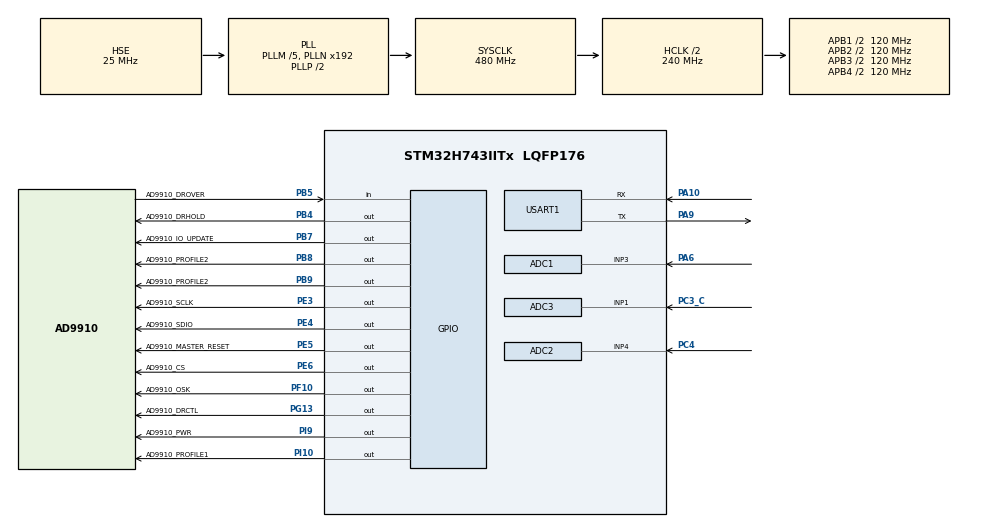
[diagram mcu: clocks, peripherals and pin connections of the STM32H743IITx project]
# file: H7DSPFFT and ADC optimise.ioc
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ADC1.Channel-1\#ChannelRegularConversion=ADC_CHANNEL_3
ADC1.ClockPrescaler=ADC_CLOCK_ASYNC_DIV2
ADC1.ClockPrescalerADC3=ADC_CLOCK_ASYNC_DIV2
ADC1.ConversionDataManagement=ADC_CONVERSIONDATA_DMA_ONESHOT
ADC1.DMAAccessModeView=ENABLE
ADC1.ExternalTrigConv=ADC_EXTERNALTRIG_T6_TRGO
ADC1.Mode=ADC_DUALMODE_REGSIMULT
ADC1.NbrOfConversion=1
ADC1.NbrOfConversionFlag=1
ADC1.OffsetNumber-1\#ChannelRegularConversion=ADC_OFFSET_NONE
ADC1.OffsetSignedSaturation-1\#ChannelRegularConversion=DISABLE
ADC1.Rank-1\#ChannelRegularConversion=1
ADC1.SamplingTime-1\#ChannelRegularConversion=ADC_SAMPLETIME_1CYCLE_5
ADC1.master=1
ADC2.Channel-5\#ChannelRegularConversion=ADC_CHANNEL_4
ADC2.ClockPrescaler=ADC_CLOCK_ASYNC_DIV2
ADC2.ClockPrescalerADC3=ADC_CLOCK_ASYNC_DIV2
ADC2.ConversionDataManagement=ADC_CONVERSIONDATA_DR
ADC2.DMAAccessModeView=ENABLE
ADC2.Mode=ADC_DUALMODE_REGSIMULT
ADC2.NbrOfConversionFlag=1
ADC2.OffsetNumber-5\#ChannelRegularConversion=ADC_OFFSET_NONE
ADC2.OffsetSignedSaturation-5\#ChannelRegularConversion=DISABLE
ADC2.Rank-5\#ChannelRegularConversion=1
ADC2.SamplingTime-5\#ChannelRegularConversion=ADC_SAMPLETIME_1CYCLE_5
ADC3.Channel-6\#ChannelRegularConversion=ADC_CHANNEL_1
ADC3.ClockPrescalerADC3=ADC_CLOCK_ASYNC_DIV2
ADC3.ConversionDataManagement=ADC_CONVERSIONDATA_DMA_CIRCULAR
ADC3.DMAAccessModeView=ENABLE
ADC3.ExternalTrigConv=ADC_EXTERNALTRIG_T3_TRGO
ADC3.Mode=ADC_DUALMODE_REGSIMULT
ADC3.NbrOfConversionFlag=1
ADC3.OffsetNumber-6\#ChannelRegularConversion=ADC_OFFSET_NONE
ADC3.OffsetSignedSaturation-6\#ChannelRegularConversion=DISABLE
ADC3.Rank-6\#ChannelRegularConversion=1
ADC3.SamplingTime-6\#ChannelRegularConversion=ADC_SAMPLETIME_1CYCLE_5
CORTEX_M7.default_mode_Activation=1
Dma.ADC1.0.Direction=DMA_PERIPH_TO_MEMORY
Dma.ADC1.0.EventEnable=DISABLE
Dma.ADC1.0.FIFOMode=DMA_FIFOMODE_DISABLE
Dma.ADC1.0.Instance=DMA1_Stream0
Dma.ADC1.0.MemDataAlignment=DMA_MDATAALIGN_HALFWORD
Dma.ADC1.0.MemInc=DMA_MINC_ENABLE
Dma.ADC1.0.Mode=DMA_NORMAL
Dma.ADC1.0.PeriphDataAlignment=DMA_PDATAALIGN_HALFWORD
Dma.ADC1.0.PeriphInc=DMA_PINC_DISABLE
Dma.ADC1.0.Polarity=HAL_DMAMUX_REQ_GEN_RISING
Dma.ADC1.0.Priority=DMA_PRIORITY_LOW
Dma.ADC1.0.RequestNumber=1
Dma.ADC1.0.SignalID=NONE
Dma.ADC1.0.SyncEnable=DISABLE
Dma.ADC1.0.SyncPolarity=HAL_DMAMUX_SYNC_NO_EVENT
Dma.ADC1.0.SyncRequestNumber=1
Dma.ADC1.0.SyncSignalID=NONE
Dma.ADC3.1.Direction=DMA_PERIPH_TO_MEMORY
Dma.ADC3.1.EventEnable=DISABLE
Dma.ADC3.1.FIFOMode=DMA_FIFOMODE_DISABLE
Dma.ADC3.1.Instance=DMA1_Stream2
Dma.ADC3.1.MemDataAlignment=DMA_MDATAALIGN_HALFWORD
Dma.ADC3.1.MemInc=DMA_MINC_ENABLE
Dma.ADC3.1.Mode=DMA_CIRCULAR
Dma.ADC3.1.PeriphDataAlignment=DMA_PDATAALIGN_HALFWORD
Dma.ADC3.1.PeriphInc=DMA_PINC_DISABLE
Dma.ADC3.1.Polarity=HAL_DMAMUX_REQ_GEN_RISING
Dma.ADC3.1.Priority=DMA_PRIORITY_LOW
Dma.ADC3.1.RequestNumber=1
Dma.ADC3.1.SignalID=NONE
Dma.ADC3.1.SyncEnable=DISABLE
Dma.ADC3.1.SyncPolarity=HAL_DMAMUX_SYNC_NO_EVENT
Dma.ADC3.1.SyncRequestNumber=1
Dma.ADC3.1.SyncSignalID=NONE
Dma.Request0=ADC1
Dma.Request1=ADC3
Mcu.Family=STM32H7
Mcu.Name=STM32H743IITx
Mcu.Package=LQFP176
NVIC.DMA1_Stream0_IRQn=true\:0\:0\:false\:false\:true\:false\:true\:true
NVIC.DMA1_Stream2_IRQn=true\:0\:0\:false\:false\:true\:false\:true\:true
NVIC.PriorityGroup=NVIC_PRIORITYGROUP_4
PA10.Mode=Asynchronous
PA10.Signal=USART1_RX
PA13\ (JTMS/SWDIO).Mode=Serial_Wire
PA13\ (JTMS/SWDIO).Signal=DEBUG_JTMS-SWDIO
PA14\ (JTCK/SWCLK).Mode=Serial_Wire
PA14\ (JTCK/SWCLK).Signal=DEBUG_JTCK-SWCLK
PA6.Signal=ADCx_INP3
PA9.Mode=Asynchronous
PA9.Signal=USART1_TX
PB4\ (NJTRST).GPIO_Label=AD9910_DRHOLD
PB4\ (NJTRST).GPIO_Speed=GPIO_SPEED_FREQ_LOW
PB4\ (NJTRST).PinState=GPIO_PIN_SET
PB4\ (NJTRST).Signal=GPIO_Output
PB5.GPIO_Label=AD9910_DROVER
PB5.Signal=GPIO_Input
PB7.GPIO_Label=AD9910_IO_UPDATE
PB7.GPIO_Speed=GPIO_SPEED_FREQ_VERY_HIGH
PB7.PinState=GPIO_PIN_RESET
PB7.Signal=GPIO_Output
PB8.GPIO_Label=AD9910_PROFILE2
PB8.GPIO_Speed=GPIO_SPEED_FREQ_VERY_HIGH
PB8.PinState=GPIO_PIN_SET
PB8.Signal=GPIO_Output
PB9.GPIO_Label=AD9910_PROFILE2
PB9.GPIO_Speed=GPIO_SPEED_FREQ_VERY_HIGH
PB9.PinState=GPIO_PIN_SET
PB9.Signal=GPIO_Output
PC14-OSC32_IN\ (OSC32_IN).Mode=LSE-External-Oscillator
PC14-OSC32_IN\ (OSC32_IN).Signal=RCC_OSC32_IN
PC15-OSC32_OUT\ (OSC32_OUT).Mode=LSE-External-Oscillator
PC15-OSC32_OUT\ (OSC32_OUT).Signal=RCC_OSC32_OUT
PC3_C.Mode=IN1-Single-Ended
PC3_C.Signal=ADC3_INP1
PC4.Signal=ADCx_INP4
PE3.GPIO_Label=AD9910_SCLK
PE3.GPIO_Speed=GPIO_SPEED_FREQ_VERY_HIGH
PE3.PinState=GPIO_PIN_SET
PE3.Signal=GPIO_Output
PE4.GPIO_Label=AD9910_SDIO
PE4.GPIO_Speed=GPIO_SPEED_FREQ_VERY_HIGH
PE4.PinState=GPIO_PIN_SET
PE4.Signal=GPIO_Output
PE5.GPIO_Label=AD9910_MASTER_RESET
PE5.GPIO_Speed=GPIO_SPEED_FREQ_VERY_HIGH
PE5.PinState=GPIO_PIN_SET
PE5.Signal=GPIO_Output
PE6.GPIO_Label=AD9910_CS
PE6.GPIO_Speed=GPIO_SPEED_FREQ_VERY_HIGH
PE6.PinState=GPIO_PIN_SET
PE6.Signal=GPIO_Output
PF10.GPIO_Label=AD9910_OSK
PF10.GPIO_Speed=GPIO_SPEED_FREQ_VERY_HIGH
PF10.PinState=GPIO_PIN_SET
PF10.Signal=GPIO_Output
PG13.GPIO_Label=AD9910_DRCTL
PG13.GPIO_Speed=GPIO_SPEED_FREQ_VERY_HIGH
PG13.PinState=GPIO_PIN_SET
PG13.Signal=GPIO_Output
PH0-OSC_IN\ (PH0).Mode=HSE-External-Oscillator
PH0-OSC_IN\ (PH0).Signal=RCC_OSC_IN
PH1-OSC_OUT\ (PH1).Mode=HSE-External-Oscillator
PH1-OSC_OUT\ (PH1).Signal=RCC_OSC_OUT
PI10.GPIO_Label=AD9910_PROFILE1
PI10.GPIO_Speed=GPIO_SPEED_FREQ_VERY_HIGH
PI10.PinState=GPIO_PIN_SET
PI10.Signal=GPIO_Output
PI9.GPIO_Label=AD9910_PWR
PI9.GPIO_Speed=GPIO_SPEED_FREQ_VERY_HIGH
PI9.PinState=GPIO_PIN_SET
PI9.Signal=GPIO_Output
ProjectManager.HeapSize=0x200
ProjectManager.StackSize=0x400
ProjectManager.TargetToolchain=MDK-ARM V5.32
RCC.ADCFreq_Value=72000000
RCC.APB1Freq_Value=120000000
RCC.APB2Freq_Value=120000000
RCC.APB3Freq_Value=120000000
RCC.APB4Freq_Value=120000000
RCC.CortexFreq_Value=480000000
RCC.D1PPRE=RCC_APB3_DIV2
RCC.D2PPRE1=RCC_APB1_DIV2
RCC.D2PPRE2=RCC_APB2_DIV2
RCC.D3PPRE=RCC_APB4_DIV2
RCC.DIVM1=5
RCC.DIVM2=5
RCC.DIVN1=192
RCC.DIVN2=72
RCC.DIVP2=5
RCC.HCLKFreq_Value=240000000
RCC.HPRE=RCC_HCLK_DIV2
RCC.PLL2FRACN=0
RCC.PLL3FRACN=0
RCC.PLLFRACN=0
RCC.PLLSourceVirtual=RCC_PLLSOURCE_HSE
RCC.SYSCLKFreq_VALUE=480000000
RCC.SYSCLKSource=RCC_SYSCLKSOURCE_PLLCLK
RCC.USBFreq_Value=480000000
SH.ADCx_INP3.0=ADC1_INP3,IN3-Single-Ended
SH.ADCx_INP4.0=ADC2_INP4,IN4-Single-Ended
TIM3.AutoReloadPreload=TIM_AUTORELOAD_PRELOAD_ENABLE
TIM3.Period=24-1
TIM3.Prescaler=10-1
TIM3.TIM_MasterOutputTrigger=TIM_TRGO_UPDATE
TIM6.AutoReloadPreload=TIM_AUTORELOAD_PRELOAD_ENABLE
TIM6.Period=24-1
TIM6.Prescaler=10-1
TIM6.TIM_MasterOutputTrigger=TIM_TRGO_UPDATE
USART1.VirtualMode-Asynchronous=VM_ASYNC
VP_MEMORYMAP_VS_MEMORYMAP.Mode=CurAppReg
VP_TIM3_VS_ClockSourceINT.Mode=Internal
VP_TIM6_VS_ClockSourceINT.Mode=Enable_Timer
board=custom

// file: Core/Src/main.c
/* USER CODE BEGIN Header */
/**
  ******************************************************************************
  * @file           : main.c
  * @brief          : Main program body
  ******************************************************************************
  * @attention
  *
  * Copyright (c) 2026 STMicroelectronics.
  * All rights reserved.
  *
  * This software is licensed under terms that can be found in the LICENSE file
  * in the root directory of this software component.
  * If no LICENSE file comes with this software, it is provided AS-IS.
  *
  ******************************************************************************
  */
/* USER CODE END Header */
#include "main.h"
#include "adc.h"
#include "dma.h"
#include "tim.h"
#include "usart.h"
#include "gpio.h"

/* USER CODE BEGIN Includes */
#include "stdio.h"
#include "fft.h"
#include "apfft.h"
#include "transmit.h"
#include "ad9910.h"
#include "FreqAdjust.h"
/* USER CODE END Includes */

/* USER CODE BEGIN PD */
#define FREQ_ADJUST_MIN_TIME_MS  100U
#define FREQ_RECAPTURE_HZ        3.0f
/* USER CODE END PD */

/* USER CODE BEGIN PM */
volatile uint8_t AD1_3Flag = 0;
volatile uint8_t APFT1Flag = 0;
/* USER CODE END PM */

/* USER CODE BEGIN PV */
volatile uint8_t TIM15IsUpdate = 0;
volatile uint16_t CNT_1 = 0;
volatile uint16_t CNT_2 = 0;
volatile float TIMgetfreq = 0;
volatile uint16_t ADC1_3[NPT];
float vout,fre;
double FreqCmd = 0.0;
float FreqCoarse = 0.0f;
uint32_t AdjustTime = 0U;
uint8_t LockFlag = 0U;
uint8_t PhaseRefFlag = 0U;
/* USER CODE END PV */

void SystemClock_Config(void);
void PeriphCommonClock_Config(void);
static void MPU_Config(void);
/* USER CODE BEGIN PFP */
void main_apft(void);
void ADC1_Channel3(void);
/* USER CODE END PFP */

int main(void)
{

  /* MPU Configuration--------------------------------------------------------*/
  MPU_Config();

  /* MCU Configuration--------------------------------------------------------*/

  /* Reset of all peripherals, Initializes the Flash interface and the Systick. */
  HAL_Init();

  /* Configure the system clock */
  SystemClock_Config();

  /* Configure the peripherals common clocks */
  PeriphCommonClock_Config();

  /* USER CODE BEGIN SysInit */
	FFT_Init();
  Windows_Init();
  APFT_Init();
  /* USER CODE END SysInit */

  /* Initialize all configured peripherals */
  MX_GPIO_Init();
  MX_DMA_Init();
  MX_ADC1_Init();
  MX_TIM3_Init();
  MX_USART1_UART_Init();
  MX_ADC2_Init();
  MX_ADC3_Init();
  MX_TIM6_Init();
  /* USER CODE BEGIN 2 */
  HAL_Delay(500);
  Init_AD9910();
  HAL_ADCEx_Calibration_Start(&hadc3, ADC_CALIB_OFFSET, ADC_SINGLE_ENDED);
  HAL_ADC_Start_DMA(&hadc3,(uint32_t*)ADC1_3,NPT);

	HAL_ADCEx_Calibration_Start(&hadc1, ADC_CALIB_OFFSET, ADC_SINGLE_ENDED);
	HAL_ADCEx_Calibration_Start(&hadc2, ADC_CALIB_OFFSET, ADC_SINGLE_ENDED);
//ADC1数据是低十六位wave_packed[i] & 0xFFFFU
//ADC2数据是高十六位wave_packed[i] >> 16;
  HAL_ADCEx_MultiModeStart_DMA(&hadc1,wave_packed,APFT_NPT*2);

  DMA1_Stream0->CR &= ~DMA_SxCR_HTIE;
/*
阴
NORMAL要设置完成标志位，因此要调用HAL_DMA_IRQHandler的完成事件，不能手动清除TC标志位了
因此这里禁用TH中断是必要的
或者用if筛选也行
*/
  // HAL_TIM_Base_Start(&htim6);
  // HAL_TIM_Base_Start_IT(&htim8);
  // HAL_TIM_Base_Start_IT(&htim15);

    AD9910_SIN_AmpWrite(16383);
    // AD9910_SIN_Float_FreWrite((double)26666.66);
    AD9910_SIN_FreWrite(1000000);
    AD9910_SIN_PhyWrite(0);

  /* USER CODE END 2 */

  /* Infinite loop */
  /* USER CODE BEGIN WHILE */
  while (1)
  {
    // ADC1_Channel3();
		// main_apft();

    HAL_Delay(1000);
    /* USER CODE END WHILE */

  }
}

void SystemClock_Config(void)
{
  RCC_OscInitTypeDef RCC_OscInitStruct = {0};
  RCC_ClkInitTypeDef RCC_ClkInitStruct = {0};

  /** Supply configuration update enable
  */
  HAL_PWREx_ConfigSupply(PWR_LDO_SUPPLY);

  /** Configure the main internal regulator output voltage
  */
  __HAL_PWR_VOLTAGESCALING_CONFIG(PWR_REGULATOR_VOLTAGE_SCALE0);

  while(!__HAL_PWR_GET_FLAG(PWR_FLAG_VOSRDY)) {}

  /** Initializes the RCC Oscillators according to the specified parameters
  * in the RCC_OscInitTypeDef structure.
  */
  RCC_OscInitStruct.OscillatorType = RCC_OSCILLATORTYPE_HSE;
  RCC_OscInitStruct.HSEState = RCC_HSE_ON;
  RCC_OscInitStruct.PLL.PLLState = RCC_PLL_ON;
  RCC_OscInitStruct.PLL.PLLSource = RCC_PLLSOURCE_HSE;
  RCC_OscInitStruct.PLL.PLLM = 5;
  RCC_OscInitStruct.PLL.PLLN = 192;
  RCC_OscInitStruct.PLL.PLLP = 2;
  RCC_OscInitStruct.PLL.PLLQ = 2;
  RCC_OscInitStruct.PLL.PLLR = 2;
  RCC_OscInitStruct.PLL.PLLRGE = RCC_PLL1VCIRANGE_2;
  RCC_OscInitStruct.PLL.PLLVCOSEL = RCC_PLL1VCOWIDE;
  RCC_OscInitStruct.PLL.PLLFRACN = 0;
  if (HAL_RCC_OscConfig(&RCC_OscInitStruct) != HAL_OK)
  {
    Error_Handler();
  }

  /** Initializes the CPU, AHB and APB buses clocks
  */
  RCC_ClkInitStruct.ClockType = RCC_CLOCKTYPE_HCLK|RCC_CLOCKTYPE_SYSCLK
                              |RCC_CLOCKTYPE_PCLK1|RCC_CLOCKTYPE_PCLK2
                              |RCC_CLOCKTYPE_D3PCLK1|RCC_CLOCKTYPE_D1PCLK1;
  RCC_ClkInitStruct.SYSCLKSource = RCC_SYSCLKSOURCE_PLLCLK;
  RCC_ClkInitStruct.SYSCLKDivider = RCC_SYSCLK_DIV1;
  RCC_ClkInitStruct.AHBCLKDivider = RCC_HCLK_DIV2;
  RCC_ClkInitStruct.APB3CLKDivider = RCC_APB3_DIV2;
  RCC_ClkInitStruct.APB1CLKDivider = RCC_APB1_DIV2;
  RCC_ClkInitStruct.APB2CLKDivider = RCC_APB2_DIV2;
  RCC_ClkInitStruct.APB4CLKDivider = RCC_APB4_DIV2;

  if (HAL_RCC_ClockConfig(&RCC_ClkInitStruct, FLASH_LATENCY_4) != HAL_OK)
  {
    Error_Handler();
  }
}

void PeriphCommonClock_Config(void)
{
  RCC_PeriphCLKInitTypeDef PeriphClkInitStruct = {0};

  /** Initializes the peripherals clock
  */
  PeriphClkInitStruct.PeriphClockSelection = RCC_PERIPHCLK_ADC;
  PeriphClkInitStruct.PLL2.PLL2M = 5;
  PeriphClkInitStruct.PLL2.PLL2N = 72;
  PeriphClkInitStruct.PLL2.PLL2P = 5;
  PeriphClkInitStruct.PLL2.PLL2Q = 2;
  PeriphClkInitStruct.PLL2.PLL2R = 2;
  PeriphClkInitStruct.PLL2.PLL2RGE = RCC_PLL2VCIRANGE_2;
  PeriphClkInitStruct.PLL2.PLL2VCOSEL = RCC_PLL2VCOWIDE;
  PeriphClkInitStruct.PLL2.PLL2FRACN = 0;
  PeriphClkInitStruct.AdcClockSelection = RCC_ADCCLKSOURCE_PLL2;
  if (HAL_RCCEx_PeriphCLKConfig(&PeriphClkInitStruct) != HAL_OK)
  {
    Error_Handler();
  }
}

/* USER CODE BEGIN 4 */
void main_apft(void){
    uint32_t PhaseTime;
    float FreqNew;
    uint8_t ResetFlag = 0U;

    while(!APFT1Flag);
    PhaseTime = HAL_GetTick();
    HAL_TIM_Base_Stop(&htim6);
    HAL_ADCEx_MultiModeStop_DMA(&hadc1);
//算法
    APFT();

    //粗测频第一次有效，或者输入频率明显变化时，重新设置AD9910并开始细锁
    if(TIM15IsUpdate)
    {
        FreqNew = TIMgetfreq;
        TIM15IsUpdate = 0;
        USART1_printf("FreqTIM=%.3f\r\n", FreqNew);

        if((FreqNew > 0.0f) &&
           ((!LockFlag) ||
            (FreqNew > FreqCoarse + FREQ_RECAPTURE_HZ) ||
            (FreqNew < FreqCoarse - FREQ_RECAPTURE_HZ)))//明显变化
        {
            FreqCoarse = FreqNew;
            FreqCmd = (double)FreqCoarse;
            AD9910_SIN_Float_FreWrite(FreqCmd);
            FreqAdjust_Init(FreqCmd);//重启
            LockFlag = 1U;
            PhaseRefFlag = 0U;
            ResetFlag = 1U;
            USART1_printf("Capture=%.6f\r\n", FreqCmd);
        }
    }

    //重新设置频率后的下一帧只建立相位参考；以后实际间隔达到100ms再修正
    if(LockFlag && !ResetFlag)
    {
        if(!PhaseRefFlag)
        {
            FreqAdjust_Update(Phase, PhaseTime);
            AdjustTime = PhaseTime;
            PhaseRefFlag = 1U;
        }
        else if((PhaseTime - AdjustTime) >= FREQ_ADJUST_MIN_TIME_MS)
        {
            FreqCmd = FreqAdjust_Update(Phase, PhaseTime);//根据apft的相位和halgettick的时间先计算调整相位，等到了100ms+再进行频率调整
            AD9910_SIN_Float_FreWrite(FreqCmd);
            AdjustTime = PhaseTime;
            USART1_printf("FreqCmd=%.6f\r\n", FreqCmd);
        }
    }

    USART1_printf("Phase=%.3f\r\n", Phase);
    // for(int i = 0; i < APFT_NPT*2; i++){
    //     USART1_printf("%u,%u\r\n", (uint16_t)(wave_packed[i] & 0xFFFFU), (uint16_t)(wave_packed[i] >> 16));
    // }

    APFT1Flag = 0;
    HAL_ADCEx_MultiModeStart_DMA(&hadc1,wave_packed,APFT_NPT*2);
    DMA1_Stream0->CR &= ~DMA_SxCR_HTIE;
    HAL_TIM_Base_Start(&htim6);
}

void ADC1_Channel3(void){
    HAL_TIM_Base_Start(&htim3);
    while(!AD1_3Flag);

    // for(int i=0;i<NPT;i++){
    // USART1_printf("%d\r\n",ADC1_3[i]);
    // }

    FFT_Calculation(ADC1_3,&vout,&fre);
    USART1_printf("V=%.3f\r\n",vout);
    USART1_printf("f=%.3f\r\n",fre);

    int wave_judging_result = Wave_Judging(ADC1_3);
    if(wave_judging_result){
        USART1_printf("tri\r\n");
    }
    else{
        USART1_printf("sin\r\n");
    }
		AD1_3Flag = 0;
}
/* USER CODE END 4 */

 /* MPU Configuration */

void MPU_Config(void)
{
  MPU_Region_InitTypeDef MPU_InitStruct = {0};

  /* Disables the MPU */
  HAL_MPU_Disable();

  /** Initializes and configures the Region and the memory to be protected
  */
  MPU_InitStruct.Enable = MPU_REGION_ENABLE;
  MPU_InitStruct.Number = MPU_REGION_NUMBER0;
  MPU_InitStruct.BaseAddress = 0x0;
  MPU_InitStruct.Size = MPU_REGION_SIZE_4GB;
  MPU_InitStruct.SubRegionDisable = 0x87;
  MPU_InitStruct.TypeExtField = MPU_TEX_LEVEL0;
  MPU_InitStruct.AccessPermission = MPU_REGION_NO_ACCESS;
  MPU_InitStruct.DisableExec = MPU_INSTRUCTION_ACCESS_DISABLE;
  MPU_InitStruct.IsShareable = MPU_ACCESS_SHAREABLE;
  MPU_InitStruct.IsCacheable = MPU_ACCESS_NOT_CACHEABLE;
  MPU_InitStruct.IsBufferable = MPU_ACCESS_NOT_BUFFERABLE;

  HAL_MPU_ConfigRegion(&MPU_InitStruct);
  /* Enables the MPU */
  HAL_MPU_Enable(MPU_PRIVILEGED_DEFAULT);

}

void Error_Handler(void)
{
  __disable_irq();
  while (1)
  {
  }
}
